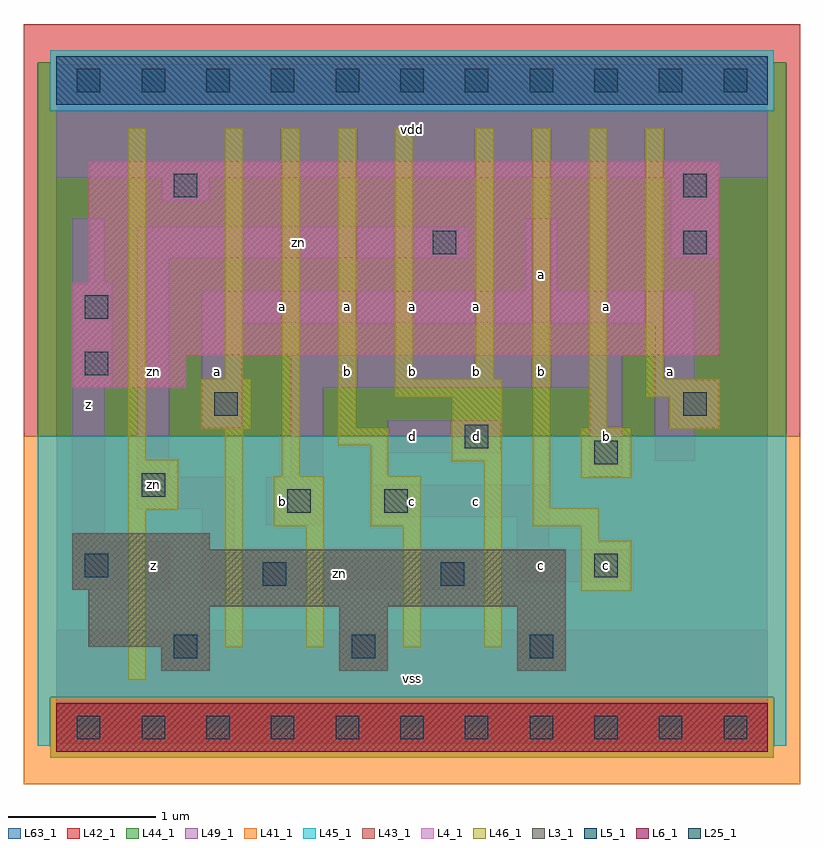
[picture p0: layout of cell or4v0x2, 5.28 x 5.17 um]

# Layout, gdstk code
import gdstk
lib = gdstk.Library(unit=1e-6, precision=1e-09)
def R(c, l, rs):  # rectangles x0, y0, x1, y1
    for r in rs: c.add(gdstk.rectangle(r[:2], r[2:], *l))
def A(c, l, x, y, w, h, nx, ny, dx, dy):  # array of equal rectangles
    R(c, l, [(x+i*dx, y+j*dy, x+i*dx+w, y+j*dy+h) for i in range(nx) for j in range(ny)])
L3_1 = (3, 1)
L4_1 = (4, 1)
L5_1 = (5, 1)
L6_1 = (6, 1)
L25_1 = (25, 1)
L41_1 = (41, 1)
L42_1 = (42, 1)
L43_1 = (43, 1)
L44_1 = (44, 1)
L45_1 = (45, 1)
L46_1 = (46, 1)
L49_1 = (49, 1)
L63_1 = (63, 1)

or4v0x2 = lib.new_cell('or4v0x2')
R(or4v0x2, L3_1, [(0.715,0.385,1.045,0.55), (1.925,0.385,2.255,0.825), (3.135,0.385,3.465,0.825), (0.22,0.55,1.045,0.825), (0.22,0.825,3.465,0.935), (0.11,0.935,3.465,1.21), (0.11,1.21,1.045,1.32)])
R(or4v0x2, L4_1, [(0.11,2.31,0.88,2.53), (0.11,2.53,4.51,3.025), (0.22,3.025,4.51,3.85)])
R(or4v0x2, L5_1, [(0,4.235,4.84,4.565)])
R(or4v0x2, L6_1, [(0,-0.165,4.84,0.165)])
A(or4v0x2, L25_1, 0.14, -0.08, 0.16, 0.16, 11, 2, 0.44, 4.4)
A(or4v0x2, L25_1, 0.8, 0.47, 0.16, 0.16, 3, 1, 1.21, 0)
R(or4v0x2, L25_1, [(1.405,0.965,1.565,1.125), (2.615,0.965,2.775,1.125), (0.195,1.02,0.355,1.18), (3.66,1.02,3.82,1.18), (1.57,1.46,1.73,1.62), (2.23,1.46,2.39,1.62), (0.58,1.57,0.74,1.73), (3.66,1.79,3.82,1.95), (2.78,1.9,2.94,2.06), (1.075,2.12,1.235,2.28), (4.265,2.12,4.425,2.28), (0.195,2.395,0.355,2.555), (0.195,2.78,0.355,2.94), (2.56,3.22,2.72,3.38), (4.265,3.22,4.425,3.38), (0.8,3.605,0.96,3.765), (4.265,3.605,4.425,3.765)])
R(or4v0x2, L41_1, [(-0.22,-0.385,5.06,1.98)])
R(or4v0x2, L42_1, [(-0.22,1.98,5.06,4.785)])
R(or4v0x2, L43_1, [(0,-0.165,4.84,0.165), (0.715,0.385,1.045,0.55), (1.925,0.385,2.255,0.825), (3.135,0.385,3.465,0.825), (0.22,0.55,1.045,0.825), (0.22,0.825,3.465,0.935), (0.11,0.935,3.465,1.21), (0.11,1.21,1.045,1.32), (0.11,2.31,0.88,2.53), (0.11,2.53,4.51,3.025), (0.22,3.025,4.51,3.85), (0,4.235,4.84,4.565)])
R(or4v0x2, L44_1, [(-0.04,-0.205,4.88,0.205), (-0.125,1.98,4.965,4.195), (-0.125,4.195,-0.04,4.525), (4.88,4.195,4.965,4.525)])
R(or4v0x2, L45_1, [(-0.125,-0.125,-0.04,0.205), (4.88,-0.125,4.965,0.205), (-0.125,0.205,4.965,1.98), (-0.04,4.195,4.88,4.605)])
R(or4v0x2, L46_1, [(0.49,0.325,0.61,1.48), (1.15,0.545,1.27,2.03), (1.7,0.545,1.82,1.37), (2.36,0.545,2.48,1.37), (2.91,0.545,3.03,1.81), (3.57,0.93,3.91,1.27), (3.57,1.27,3.69,1.37), (1.48,1.37,1.82,1.71), (2.14,1.37,2.48,1.71), (3.24,1.37,3.69,1.49), (0.49,1.48,0.83,1.82), (3.24,1.49,3.36,4.075), (3.57,1.7,3.91,2.04), (1.535,1.71,1.655,4.075), (2.14,1.71,2.26,1.92), (2.69,1.81,3.03,2.25), (0.49,1.82,0.61,4.075), (1.92,1.92,2.26,2.04), (0.985,2.03,1.325,2.37), (4.175,2.03,4.515,2.25), (1.92,2.04,2.04,4.075), (3.625,2.04,3.745,4.075), (2.305,2.25,3.03,2.37), (4.01,2.25,4.515,2.37), (1.15,2.37,1.27,4.075), (2.305,2.37,2.425,4.075), (2.855,2.37,2.975,4.075), (4.01,2.37,4.13,4.075)])
R(or4v0x2, L49_1, [(0,-0.11,4.84,0.66), (0.11,0.935,0.77,1.265), (0.99,0.935,2.86,1.155), (3.135,0.99,3.905,1.21), (0.99,1.155,1.21,1.485), (3.135,1.21,3.355,1.43), (0.11,1.265,0.33,2.31), (1.43,1.375,1.815,1.705), (2.145,1.43,3.355,1.65), (0.55,1.485,1.21,1.705), (0.55,1.705,0.77,3.19), (1.595,1.705,1.815,2.31), (3.63,1.705,3.85,2.31), (4.07,1.815,4.345,2.035), (2.255,1.87,3.025,2.09), (0.99,2.035,1.265,2.75), (4.07,2.035,4.51,2.365), (0.11,2.31,0.385,3.025), (1.595,2.31,3.85,2.53), (4.07,2.365,4.345,2.75), (0.99,2.75,4.345,2.97), (3.19,2.97,3.41,3.465), (0.11,3.025,0.33,3.465), (0.55,3.19,2.805,3.41), (4.18,3.19,4.51,3.74), (0.715,3.575,1.045,3.74), (0,3.74,4.84,4.51)])
R(or4v0x2, L63_1, [(0,0,4.84,4.4)])
or4v0x2.add(gdstk.Label('zn', (0.66,1.65), layer=49, texttype=1))
or4v0x2.add(gdstk.Label('z', (0.66,1.1), layer=49, texttype=1))
or4v0x2.add(gdstk.Label('z', (0.22,2.2), layer=49, texttype=1))
or4v0x2.add(gdstk.Label('zn', (0.66,2.42), layer=49, texttype=1))
or4v0x2.add(gdstk.Label('b', (1.54,1.54), layer=49, texttype=1))
or4v0x2.add(gdstk.Label('a', (1.1,2.42), layer=49, texttype=1))
or4v0x2.add(gdstk.Label('a', (1.54,2.86), layer=49, texttype=1))
or4v0x2.add(gdstk.Label('vss', (2.42,0.33), layer=49, texttype=1))
or4v0x2.add(gdstk.Label('zn', (1.925,1.045), layer=49, texttype=1))
or4v0x2.add(gdstk.Label('c', (2.42,1.54), layer=49, texttype=1))
or4v0x2.add(gdstk.Label('b', (1.98,2.42), layer=49, texttype=1))
or4v0x2.add(gdstk.Label('d', (2.42,1.98), layer=49, texttype=1))
or4v0x2.add(gdstk.Label('b', (2.42,2.42), layer=49, texttype=1))
or4v0x2.add(gdstk.Label('a', (2.42,2.86), layer=49, texttype=1))
or4v0x2.add(gdstk.Label('a', (1.98,2.86), layer=49, texttype=1))
or4v0x2.add(gdstk.Label('zn', (1.65,3.3), layer=49, texttype=1))
or4v0x2.add(gdstk.Label('vdd', (2.42,4.07), layer=49, texttype=1))
or4v0x2.add(gdstk.Label('c', (2.86,1.54), layer=49, texttype=1))
or4v0x2.add(gdstk.Label('c', (3.3,1.1), layer=49, texttype=1))
or4v0x2.add(gdstk.Label('c', (3.74,1.1), layer=49, texttype=1))
or4v0x2.add(gdstk.Label('d', (2.86,1.98), layer=49, texttype=1))
or4v0x2.add(gdstk.Label('b', (2.86,2.42), layer=49, texttype=1))
or4v0x2.add(gdstk.Label('b', (3.3,2.42), layer=49, texttype=1))
or4v0x2.add(gdstk.Label('b', (3.74,1.98), layer=49, texttype=1))
or4v0x2.add(gdstk.Label('a', (3.74,2.86), layer=49, texttype=1))
or4v0x2.add(gdstk.Label('a', (2.86,2.86), layer=49, texttype=1))
or4v0x2.add(gdstk.Label('a', (3.3,3.08), layer=49, texttype=1))
or4v0x2.add(gdstk.Label('a', (4.18,2.42), layer=49, texttype=1))

lib.write_gds('or4v0x2.gds')
